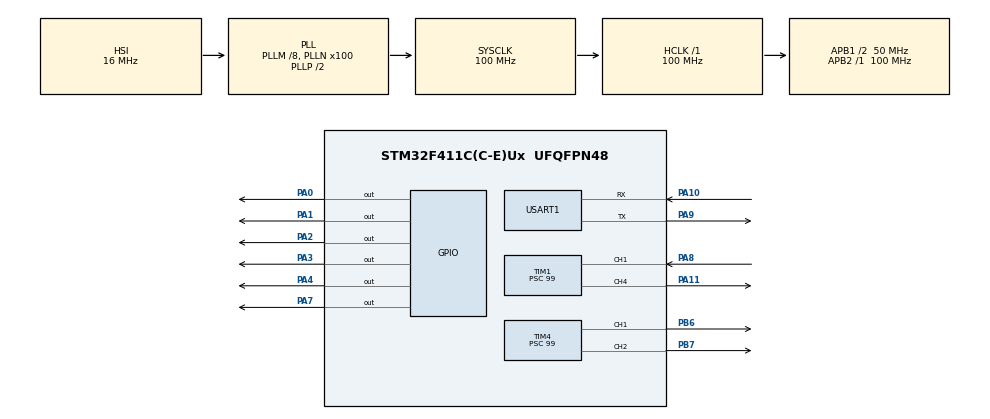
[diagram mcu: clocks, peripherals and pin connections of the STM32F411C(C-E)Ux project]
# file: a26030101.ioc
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Mcu.Family=STM32F4
Mcu.Name=STM32F411C(C-E)Ux
Mcu.Package=UFQFPN48
NVIC.PriorityGroup=NVIC_PRIORITYGROUP_4
NVIC.TIM1_CC_IRQn=true\:0\:0\:false\:false\:true\:true\:true\:true
NVIC.USART1_IRQn=true\:0\:0\:false\:false\:true\:true\:true\:true
PA0-WKUP.Signal=GPIO_Output
PA1.Signal=GPIO_Output
PA10.Mode=Asynchronous
PA10.Signal=USART1_RX
PA11.Signal=S_TIM1_CH4
PA13.Mode=Serial_Wire
PA13.Signal=SYS_JTMS-SWDIO
PA14.Mode=Serial_Wire
PA14.Signal=SYS_JTCK-SWCLK
PA2.Signal=GPIO_Output
PA3.PinState=GPIO_PIN_RESET
PA3.Signal=GPIO_Output
PA4.Signal=GPIO_Output
PA7.PinState=GPIO_PIN_SET
PA7.Signal=GPIO_Output
PA8.Signal=S_TIM1_CH1
PA9.Mode=Asynchronous
PA9.Signal=USART1_TX
PB6.Signal=S_TIM4_CH1
PB7.Signal=S_TIM4_CH2
PC14-OSC32_IN.Mode=LSE-External-Oscillator
PC14-OSC32_IN.Signal=RCC_OSC32_IN
PC15-OSC32_OUT.Mode=LSE-External-Oscillator
PC15-OSC32_OUT.Signal=RCC_OSC32_OUT
PH0\ -\ OSC_IN.Mode=HSE-External-Oscillator
PH0\ -\ OSC_IN.Signal=RCC_OSC_IN
PH1\ -\ OSC_OUT.Mode=HSE-External-Oscillator
PH1\ -\ OSC_OUT.Signal=RCC_OSC_OUT
ProjectManager.HeapSize=0x200
ProjectManager.StackSize=0x400
ProjectManager.TargetToolchain=CMake
RCC.48MHZClocksFreq_Value=50000000
RCC.AHBFreq_Value=100000000
RCC.APB1CLKDivider=RCC_HCLK_DIV2
RCC.APB1Freq_Value=50000000
RCC.APB1TimFreq_Value=100000000
RCC.APB2Freq_Value=100000000
RCC.APB2TimFreq_Value=100000000
RCC.CortexFreq_Value=100000000
RCC.HCLKFreq_Value=100000000
RCC.HSE_VALUE=25000000
RCC.HSI_VALUE=16000000
RCC.PLLM=8
RCC.PLLN=100
RCC.SYSCLKFreq_VALUE=100000000
RCC.SYSCLKSource=RCC_SYSCLKSOURCE_PLLCLK
RCC.VCOOutputFreq_Value=200000000
SH.S_TIM1_CH1.0=TIM1_CH1,Input_Capture1_from_TI1
SH.S_TIM1_CH4.0=TIM1_CH4,PWM Generation4 CH4
SH.S_TIM4_CH1.0=TIM4_CH1,PWM Generation1 CH1
SH.S_TIM4_CH2.0=TIM4_CH2,PWM Generation2 CH2
TIM1.Channel-Input_Capture1_from_TI1=TIM_CHANNEL_1
TIM1.Channel-Input_Capture2_from_TI1_63=TIM_CHANNEL_2
TIM1.Channel-PWM\ Generation4\ CH4=TIM_CHANNEL_4
TIM1.ICPolarity_CH2=TIM_INPUTCHANNELPOLARITY_FALLING
TIM1.Period=65535
TIM1.Prescaler=99
TIM2.Prescaler=99
TIM3.Prescaler=99
TIM4.Channel-PWM\ Generation1\ CH1=TIM_CHANNEL_1
TIM4.Channel-PWM\ Generation2\ CH2=TIM_CHANNEL_2
TIM4.Period=99
TIM4.Prescaler=99
TIM4.Pulse-PWM\ Generation1\ CH1=70
TIM4.Pulse-PWM\ Generation2\ CH2=70
USART1.VirtualMode=VM_ASYNC
VP_TIM1_VS_ClockSourceINT.Mode=Internal
VP_TIM1_VS_indirect_ch1.Mode=Input_Capture2_from_TI1_63
VP_TIM2_VS_ClockSourceINT.Mode=Internal
VP_TIM3_VS_ClockSourceINT.Mode=Internal
VP_TIM4_VS_ClockSourceINT.Mode=Internal
board=custom

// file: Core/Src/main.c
/* USER CODE BEGIN Header */
/**
  ******************************************************************************
  * @file           : main.c
  * @brief          : Main program body
  ******************************************************************************
  * @attention
  *
  * Copyright (c) 2026 STMicroelectronics.
  * All rights reserved.
  *
  * This software is licensed under terms that can be found in the LICENSE file
  * in the root directory of this software component.
  * If no LICENSE file comes with this software, it is provided AS-IS.
  *
  ******************************************************************************
  */
/* USER CODE END Header */
#include "main.h"
#include "tim.h"
#include "usart.h"
#include "gpio.h"

/* USER CODE BEGIN Includes */
#include <stdio.h>

#include "string.h"
/* USER CODE END Includes */

/* USER CODE BEGIN PV */
float distance = 0;
char RxDate[50] = {0};
int temp1 = 0;
int temp2 = 0;
uint8_t RxDate_0[2] = {0};
volatile uint8_t rx_cmd = '9'; // 保存串口接收到的电机控制命令，用volatile修饰确保中断与主循环之间数据同步
/* USER CODE END PV */

void SystemClock_Config(void);

/* USER CODE BEGIN 0 */
void hcsr04_start(void)
{
  __HAL_TIM_SET_COUNTER(&htim1, 0);
  HAL_GPIO_WritePin(GPIOA, GPIO_PIN_0, GPIO_PIN_SET);
  __HAL_TIM_SET_COUNTER(&htim2, 0);
  while (__HAL_TIM_GET_COUNTER(&htim2) < 10){};
  HAL_GPIO_WritePin(GPIOA, GPIO_PIN_0, GPIO_PIN_RESET);
};

void HAL_TIM_IC_CaptureCallback(TIM_HandleTypeDef *htim)
{
  if (htim == &htim1 && htim->Channel == HAL_TIM_ACTIVE_CHANNEL_2)
  {
    uint32_t beging = __HAL_TIM_GET_COMPARE(&htim1, TIM_CHANNEL_1);
    uint32_t end    = __HAL_TIM_GET_COMPARE(&htim1, TIM_CHANNEL_2);
    distance = (end - beging) * 0.034 / 2;
    temp1 = (int)distance;
    temp2 = (int)((distance - temp1) * 100);
    sprintf(RxDate, "Distance: %d.%02d cm\r\n", temp1, temp2);
  }
}

void HAL_UART_RxCpltCallback(UART_HandleTypeDef *huart)
{
  if (huart -> Instance == USART1)
  {
    rx_cmd = RxDate_0[0];                         // 仅保存命令，不在中断中操作GPIO，避免被主循环覆盖
    HAL_UART_Receive_IT(&huart1, RxDate_0, 1);   // 重新开启串口中断接收
  }
}
/* USER CODE END 0 */

int main(void)
{

  /* MCU Configuration--------------------------------------------------------*/

  /* Reset of all peripherals, Initializes the Flash interface and the Systick. */
  HAL_Init();

  /* Configure the system clock */
  SystemClock_Config();

  /* Initialize all configured peripherals */
  MX_GPIO_Init();
  MX_TIM1_Init();
  MX_TIM2_Init();
  MX_USART1_UART_Init();
  MX_TIM3_Init();
  MX_TIM4_Init();
  /* USER CODE BEGIN 2 */
  HAL_TIM_PWM_Start(&htim4, TIM_CHANNEL_1);//这个是给电机机用的
  HAL_TIM_PWM_Start(&htim4, TIM_CHANNEL_2);//这个是给电机机用的
  HAL_TIM_IC_Start(&htim1, TIM_CHANNEL_1);//这个是给超声波用的
  HAL_TIM_IC_Start_IT(&htim1, TIM_CHANNEL_2);//这个是给超声波用的
  HAL_TIM_Base_Start(&htim2);//这个是给超声波延时用的
  __HAL_TIM_SET_COMPARE(&htim4, TIM_CHANNEL_1, 99);
  __HAL_TIM_SET_COMPARE(&htim4, TIM_CHANNEL_2, 99);
  HAL_UART_Receive_IT(&huart1, RxDate_0, 1);   // 开启串口中断接收
  /* USER CODE END 2 */

  /* Infinite loop */
  /* USER CODE BEGIN WHILE */
  while (1)
  {
    hcsr04_start();
    HAL_Delay(70);
    if (distance < 15)
    {
      HAL_GPIO_WritePin(GPIOA, GPIO_PIN_1, GPIO_PIN_RESET);
      HAL_GPIO_WritePin(GPIOA, GPIO_PIN_2, GPIO_PIN_RESET);
      HAL_GPIO_WritePin(GPIOA, GPIO_PIN_3, GPIO_PIN_RESET);
      HAL_GPIO_WritePin(GPIOA, GPIO_PIN_4, GPIO_PIN_RESET);
      HAL_GPIO_WritePin(GPIOA,GPIO_PIN_7,GPIO_PIN_RESET);
      if (rx_cmd == 2)
      {
        HAL_GPIO_WritePin(GPIOA, GPIO_PIN_1, GPIO_PIN_RESET);
        HAL_GPIO_WritePin(GPIOA, GPIO_PIN_2, GPIO_PIN_SET);
        HAL_GPIO_WritePin(GPIOA, GPIO_PIN_3, GPIO_PIN_RESET);
        HAL_GPIO_WritePin(GPIOA, GPIO_PIN_4, GPIO_PIN_SET);
      }
    }else
    {
      HAL_GPIO_WritePin(GPIOA,GPIO_PIN_7,GPIO_PIN_SET);
      // 根据串口接收到的命令控制电机方向（在主循环中统一处理，避免中断与主循环竞争GPIO）
      if (rx_cmd == 0)
      {
        __HAL_TIM_SET_COMPARE(&htim4, TIM_CHANNEL_1, 99);
        __HAL_TIM_SET_COMPARE(&htim4, TIM_CHANNEL_2, 99);
        HAL_GPIO_WritePin(GPIOA, GPIO_PIN_1, GPIO_PIN_RESET);
        HAL_GPIO_WritePin(GPIOA, GPIO_PIN_2, GPIO_PIN_RESET);
        HAL_GPIO_WritePin(GPIOA, GPIO_PIN_3, GPIO_PIN_RESET);
        HAL_GPIO_WritePin(GPIOA, GPIO_PIN_4, GPIO_PIN_RESET);
      }else if (rx_cmd == 1)
      {
        __HAL_TIM_SET_COMPARE(&htim4, TIM_CHANNEL_1, 99);
        __HAL_TIM_SET_COMPARE(&htim4, TIM_CHANNEL_2, 99);
        HAL_GPIO_WritePin(GPIOA, GPIO_PIN_1, GPIO_PIN_SET);
        HAL_GPIO_WritePin(GPIOA, GPIO_PIN_2, GPIO_PIN_RESET);
        HAL_GPIO_WritePin(GPIOA, GPIO_PIN_3, GPIO_PIN_SET);
        HAL_GPIO_WritePin(GPIOA, GPIO_PIN_4, GPIO_PIN_RESET);
      }else if (rx_cmd == 2)
      {
        __HAL_TIM_SET_COMPARE(&htim4, TIM_CHANNEL_1, 99);
        __HAL_TIM_SET_COMPARE(&htim4, TIM_CHANNEL_2, 99);
        HAL_GPIO_WritePin(GPIOA, GPIO_PIN_1, GPIO_PIN_RESET);
        HAL_GPIO_WritePin(GPIOA, GPIO_PIN_2, GPIO_PIN_SET);
        HAL_GPIO_WritePin(GPIOA, GPIO_PIN_3, GPIO_PIN_RESET);
        HAL_GPIO_WritePin(GPIOA, GPIO_PIN_4, GPIO_PIN_SET);
      }else if (rx_cmd == 3)
      {
        __HAL_TIM_SET_COMPARE(&htim4, TIM_CHANNEL_1, 99);
        __HAL_TIM_SET_COMPARE(&htim4, TIM_CHANNEL_2, 99);
        HAL_GPIO_WritePin(GPIOA, GPIO_PIN_1, GPIO_PIN_SET);
        HAL_GPIO_WritePin(GPIOA, GPIO_PIN_2, GPIO_PIN_RESET);
        HAL_GPIO_WritePin(GPIOA, GPIO_PIN_3, GPIO_PIN_RESET);
        HAL_GPIO_WritePin(GPIOA, GPIO_PIN_4, GPIO_PIN_SET);
      }else if (rx_cmd == 4)
      {
        __HAL_TIM_SET_COMPARE(&htim4, TIM_CHANNEL_1, 99);
        __HAL_TIM_SET_COMPARE(&htim4, TIM_CHANNEL_2, 99);
        HAL_GPIO_WritePin(GPIOA, GPIO_PIN_1, GPIO_PIN_RESET);
        HAL_GPIO_WritePin(GPIOA, GPIO_PIN_2, GPIO_PIN_SET);
        HAL_GPIO_WritePin(GPIOA, GPIO_PIN_3, GPIO_PIN_SET);
        HAL_GPIO_WritePin(GPIOA, GPIO_PIN_4, GPIO_PIN_RESET);
      }else if (rx_cmd == 5)
      {
        __HAL_TIM_SET_COMPARE(&htim4, TIM_CHANNEL_1, 50);
        __HAL_TIM_SET_COMPARE(&htim4, TIM_CHANNEL_2, 99);
        HAL_GPIO_WritePin(GPIOA, GPIO_PIN_1, GPIO_PIN_SET);
        HAL_GPIO_WritePin(GPIOA, GPIO_PIN_2, GPIO_PIN_RESET);
        HAL_GPIO_WritePin(GPIOA, GPIO_PIN_3, GPIO_PIN_SET);
        HAL_GPIO_WritePin(GPIOA, GPIO_PIN_4, GPIO_PIN_RESET);
      }else if (rx_cmd == 6)
      {
        __HAL_TIM_SET_COMPARE(&htim4, TIM_CHANNEL_1, 99);
        __HAL_TIM_SET_COMPARE(&htim4, TIM_CHANNEL_2, 50);
        HAL_GPIO_WritePin(GPIOA, GPIO_PIN_1, GPIO_PIN_SET);
        HAL_GPIO_WritePin(GPIOA, GPIO_PIN_2, GPIO_PIN_RESET);
        HAL_GPIO_WritePin(GPIOA, GPIO_PIN_3, GPIO_PIN_SET);
        HAL_GPIO_WritePin(GPIOA, GPIO_PIN_4, GPIO_PIN_RESET);
      }
    }
    // HAL_GPIO_WritePin(GPIOA, GPIO_PIN_1, GPIO_PIN_SET);
    // HAL_GPIO_WritePin(GPIOA, GPIO_PIN_2, GPIO_PIN_RESET);
    // HAL_GPIO_WritePin(GPIOA, GPIO_PIN_3, GPIO_PIN_SET);
    // HAL_GPIO_WritePin(GPIOA, GPIO_PIN_4, GPIO_PIN_RESET);
    /* USER CODE END WHILE */

  }
}

void SystemClock_Config(void)
{
  RCC_OscInitTypeDef RCC_OscInitStruct = {0};
  RCC_ClkInitTypeDef RCC_ClkInitStruct = {0};

  /** Configure the main internal regulator output voltage
  */
  __HAL_RCC_PWR_CLK_ENABLE();
  __HAL_PWR_VOLTAGESCALING_CONFIG(PWR_REGULATOR_VOLTAGE_SCALE1);

  /** Initializes the RCC Oscillators according to the specified parameters
  * in the RCC_OscInitTypeDef structure.
  */
  RCC_OscInitStruct.OscillatorType = RCC_OSCILLATORTYPE_HSI;
  RCC_OscInitStruct.HSIState = RCC_HSI_ON;
  RCC_OscInitStruct.HSICalibrationValue = RCC_HSICALIBRATION_DEFAULT;
  RCC_OscInitStruct.PLL.PLLState = RCC_PLL_ON;
  RCC_OscInitStruct.PLL.PLLSource = RCC_PLLSOURCE_HSI;
  RCC_OscInitStruct.PLL.PLLM = 8;
  RCC_OscInitStruct.PLL.PLLN = 100;
  RCC_OscInitStruct.PLL.PLLP = RCC_PLLP_DIV2;
  RCC_OscInitStruct.PLL.PLLQ = 4;
  if (HAL_RCC_OscConfig(&RCC_OscInitStruct) != HAL_OK)
  {
    Error_Handler();
  }

  /** Initializes the CPU, AHB and APB buses clocks
  */
  RCC_ClkInitStruct.ClockType = RCC_CLOCKTYPE_HCLK|RCC_CLOCKTYPE_SYSCLK
                              |RCC_CLOCKTYPE_PCLK1|RCC_CLOCKTYPE_PCLK2;
  RCC_ClkInitStruct.SYSCLKSource = RCC_SYSCLKSOURCE_PLLCLK;
  RCC_ClkInitStruct.AHBCLKDivider = RCC_SYSCLK_DIV1;
  RCC_ClkInitStruct.APB1CLKDivider = RCC_HCLK_DIV2;
  RCC_ClkInitStruct.APB2CLKDivider = RCC_HCLK_DIV1;

  if (HAL_RCC_ClockConfig(&RCC_ClkInitStruct, FLASH_LATENCY_3) != HAL_OK)
  {
    Error_Handler();
  }
}

void Error_Handler(void)
{
  __disable_irq();
  while (1)
  {
  }
}
